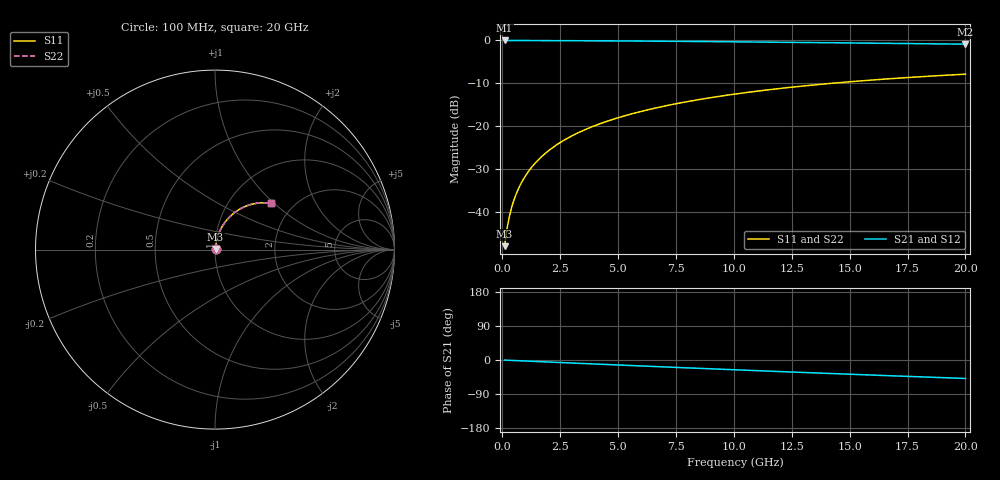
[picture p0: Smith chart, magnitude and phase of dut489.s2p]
! Touchstone file exported from HFSS 2026.1.0
!  File:  C:/ffzhzh/LocalFiles/Ansys_Project_Files/temp_train_BSMRDL_489_1783013978_55676.aedt
!  Generated:  01:41:12 AM Jul  3, 2026
!  Design:  BSMRDL
!  Project:  temp_train_BSMRDL_489_1783013978_55676
! Variables:
!  h_bsmrdl = 4.73um
!  h_ox = 20um
!  h_rdl = 5um
!  h_sub = 80um
!  h_tmrdl = 5um
!  h_tsv = 80um
!  h_via = 3um
!  l_bsmrdl = 751.93um
!  l_sub = 1151.93um
!  l_tmrdl = 200um
!  m_sub = 200um
!  pitch = 46.35um
!  r_tsv = 6um
!  s_tmrdl = 10um
!  w_bsmrdl = 21.28um
!  w_sub = 500um
!  w_tmrdl = 12um
!  x_tsv_center1 = 206um
!  x_tsv_center2 = 979.21um
!  x_tsv_center3 = 1191.21um
!  x_tsv_center4 = 1964.42um
!  x_tsv_center5 = 2176.42um
!  x_tsv_center6 = 2949.63um
# GHz S MA R 50.000000
! Terminal data exported
! Port[1] = BSM_RDL1_1_T1
! Port[2] = BSM_RDL1_1_T2
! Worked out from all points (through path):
!   200 points, 100 MHz to 20 GHz, reference 50 ohm
!   highest |S21| = -0.02 dB at 100 MHz (marker M1); lowest = -0.9 dB at 20 GHz (marker M2)
!   group delay of S21, straight-line fit = 6.77 ps
!   lowest |S11| = -48.0 dB at 100 MHz (marker M3), VSWR 1.01, Z = 50.3 + j0.285 ohm
!   |S11| at or under -10 dB: start of sweep to 14.24 GHz
!   |S22| runs from -48.0 to -7.9 dB; largest |S21 - S12| = 6.5e-15
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0.1  0.004004 45.0  0.9972 -0.3  0.9972 -0.3  0.004004 45.0
! Gamma 0 0 0 0
! Port Impedance 50 0 50 0
0.2  0.006318 61.1  0.997 -0.6  0.997 -0.6  0.006318 61.1
0.3  0.008764 68.1  0.9968 -0.8  0.9968 -0.8  0.008764 68.1
0.4  0.01124 72.0  0.9967 -1.1  0.9967 -1.1  0.01124 72.0
0.5  0.01373 74.5  0.9966 -1.4  0.9966 -1.4  0.01373 74.5
0.6  0.01624 76.2  0.9965 -1.6  0.9965 -1.6  0.01624 76.2
0.8  0.0213 78.3  0.9963 -2.2  0.9963 -2.2  0.0213 78.3
1.1  0.02895 79.7  0.9959 -3.0  0.9959 -3.0  0.02895 79.7
1.5  0.03917 80.2  0.9953 -4.0  0.9953 -4.0  0.03917 80.2
1.8  0.04681 80.1  0.9948 -4.8  0.9948 -4.8  0.04681 80.1
2.1  0.05442 79.8  0.9942 -5.6  0.9942 -5.6  0.05442 79.8
2.7  0.06951 78.8  0.9928 -7.2  0.9928 -7.2  0.06951 78.8
3.5  0.08932 77.1  0.9905 -9.3  0.9905 -9.3  0.08932 77.1
4.2  0.1063 75.5  0.9882 -11.1  0.9882 -11.1  0.1063 75.5
5  0.1254 73.7  0.9853 -13.2  0.9853 -13.2  0.1254 73.7
5.9  0.1464 71.5  0.9817 -15.5  0.9817 -15.5  0.1464 71.5
6.8  0.1669 69.4  0.9778 -17.8  0.9778 -17.8  0.1669 69.4
8.3  0.2 65.9  0.9707 -21.6  0.9707 -21.6  0.2 65.9
10.1  0.2378 61.6  0.9614 -26.0  0.9614 -26.0  0.2378 61.6
13.4  0.3013 54.1  0.9425 -33.9  0.9425 -33.9  0.3013 54.1
16.7  0.3566 46.7  0.9226 -41.5  0.9226 -41.5  0.3566 46.7
20  0.4036 39.6  0.9028 -48.7  0.9028 -48.7  0.4036 39.6
